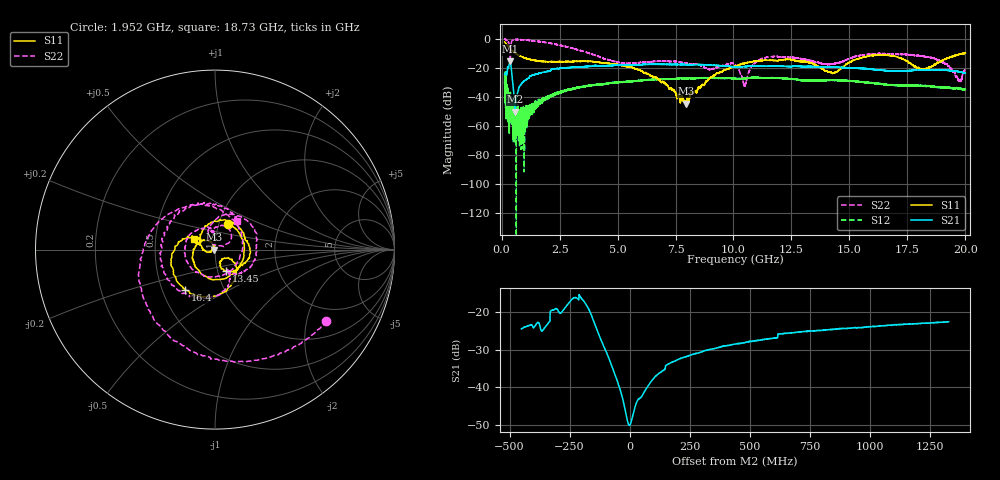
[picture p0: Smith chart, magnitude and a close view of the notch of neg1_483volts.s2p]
!Created with skrf (http://scikit-rf.org).
# GHz S RI R 50.0
!freq ReS11 ImS11 ReS21 ImS21 ReS12 ImS12 ReS22 ImS22
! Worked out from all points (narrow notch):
!   20013 points, 130 MHz to 20 GHz, reference 50 ohm
!   highest |S21| = -15.39 dB at 370 MHz (marker M1); lowest = -50.1 dB at 581 MHz (marker M2)
!   notch at M2: 30.8 dB deep, 221 MHz wide at half that depth
!   lowest |S11| = -44.8 dB at 7.955 GHz (marker M3), VSWR 1.01, Z = 49.4 + j0.0202 ohm
!   |S11| at or under -10 dB: 609.1 MHz to 19.9 GHz (19.29 GHz wide, 188 % of centre); 19.89771 GHz to 19.90578 GHz (8.066 MHz wide, 0.0405 % of centre); 19.92937 GHz to 19.9662 GHz (36.82 MHz wide, 0.185 % of centre)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
!   |S22| runs from -32.6 to -0.2 dB; largest |S21 - S12| = 0.17
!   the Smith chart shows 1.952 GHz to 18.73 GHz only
!   S11 on the Smith chart (normalised r, x): 1.952 GHz: 1.11, +0.33; 13.45 GHz: 1.10, -0.27; 16.4 GHz: 0.65, -0.32; 18.73 GHz: 0.78, +0.09
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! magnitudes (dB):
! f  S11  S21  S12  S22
! 130 MHz  -2.1  -24.5  -27.3  -0.2
! 370 MHz  -6.7  -15.4  -43.6  -14.7
! 581 MHz  -9.7  -50.1  -61.1  -0.5
! 987 MHz  -13.1  -28.9  -55.2  -0.7
! 1.952 GHz  -15.8  -22.5  -41.5  -2.7
! 3.442 GHz  -15.5  -19.3  -33.1  -8.2
! 5.239 GHz  -18.5  -18.0  -29.8  -16.7
! 6.754 GHz  -28.0  -17.5  -28.0  -15.5
! 7.955 GHz  -44.8  -17.8  -27.3  -16.6
! 10.06 GHz  -18.6  -19.3  -27.4  -17.8
! 10.49 GHz  -16.8  -19.1  -27.4  -32.1
! 10.81 GHz  -16.0  -18.7  -26.8  -18.4
! 11.26 GHz  -14.8  -18.8  -27.0  -13.4
! 13.38 GHz  -16.7  -19.1  -28.5  -15.3
! 13.45 GHz  -17.4  -19.1  -28.6  -15.6
! 14.33 GHz  -23.4  -19.5  -28.5  -17.1
! 16.4 GHz  -11.0  -21.7  -31.1  -10.1
! 16.69 GHz  -11.4  -21.9  -31.8  -10.3
! 18.09 GHz  -20.6  -21.3  -32.1  -11.8
! 18.73 GHz  -17.4  -21.4  -33.4  -14.0
! 19.75 GHz  -10.7  -22.7  -34.2  -28.7
! 20 GHz  -9.8  -23.8  -34.6  -19.9
